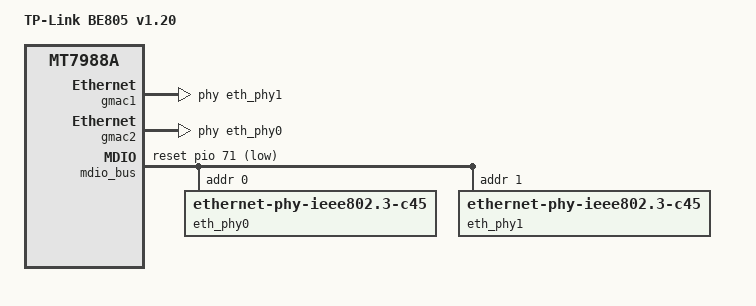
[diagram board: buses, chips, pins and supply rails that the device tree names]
// SPDX-License-Identifier: GPL-2.0-or-later OR MIT
// Author: Yanase Yuki <dev@zpc.st>
/dts-v1/;
#include "mt7988a-tplink-be805.dtsi"

/ {
	compatible = "tplink,be805-v1.20", "tplink,be805", "mediatek,mt7988a";
	model = "TP-Link BE805 v1.20";
};

&gmac1 {
	phy-handle = <&eth_phy1>;
};

&gmac2 {
	phy-handle = <&eth_phy0>;
};

&mdio_bus {
	reset-gpios = <&pio 71 GPIO_ACTIVE_LOW>;
	reset-delay-us = <100000>;
	reset-post-delay-us = <221000>;

	eth_phy0: ethernet-phy@0 {
		compatible = "ethernet-phy-ieee802.3-c45";
		reg = <0>;
		max-speed = <10000>;
	};

	eth_phy1: ethernet-phy@1 {
		compatible = "ethernet-phy-ieee802.3-c45";
		reg = <1>;
		max-speed = <10000>;
	};
};

